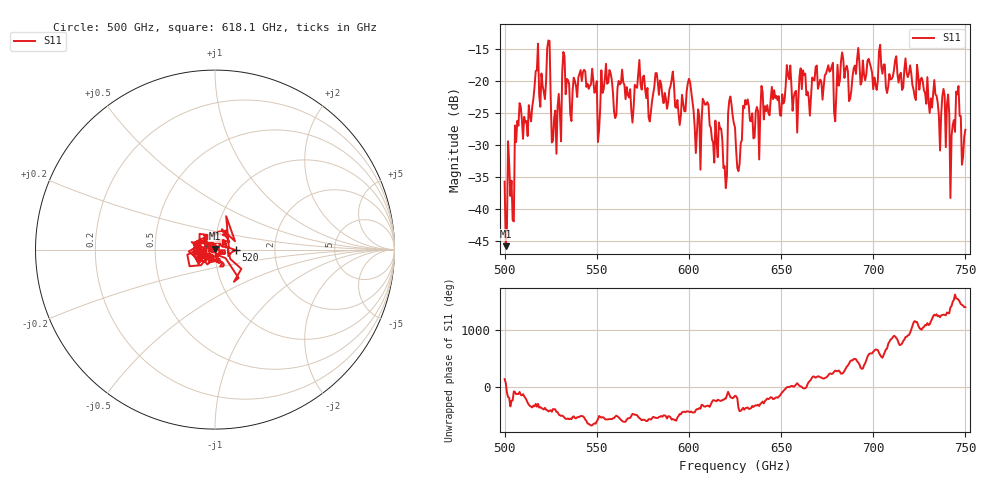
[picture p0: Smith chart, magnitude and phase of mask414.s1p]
!Created with skrf (http://scikit-rf.org).
# GHz S MA R 50.0
!freq magS11 angS11
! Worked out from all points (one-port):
!   401 points, 500 GHz to 750 GHz, reference 50 ohm
!   lowest |S11| = -45.8 dB at 500.6 GHz (marker M1), VSWR 1.01, Z = 50.1 + j0.502 ohm
!   |S11| at or under -10 dB: start of sweep to end of sweep
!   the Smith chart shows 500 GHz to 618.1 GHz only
!   S11 on the Smith chart (normalised r, x): 500 GHz: 0.97, +0.02; 520 GHz: 1.26, -0.01; 618.1 GHz: 0.95, +0.04
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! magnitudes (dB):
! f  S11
! 500 GHz  -35.7
! 500.6 GHz  -45.8
! 503.8 GHz  -35.6
! 508.1 GHz  -23.4
! 520 GHz  -18.8
! 523.8 GHz  -13.6
! 526.9 GHz  -25.7
! 531.2 GHz  -18.6
! 542.5 GHz  -18.6
! 550.6 GHz  -29.5
! 562.5 GHz  -20.5
! 579.4 GHz  -24.8
! 590.6 GHz  -19.8
! 593.8 GHz  -22.9
! 600 GHz  -19.6
! 605 GHz  -24.4
! 608.8 GHz  -23.7
! 618.1 GHz  -29.2
! 620 GHz  -36.7
! 622.5 GHz  -22.4
! 625 GHz  -27.2
! 626.9 GHz  -34.1
! 656.2 GHz  -24.6
! 687.5 GHz  -22.7
! 718.8 GHz  -19.4
! 743.1 GHz  -26.9
! 746.2 GHz  -20.8
! 750 GHz  -27.6
